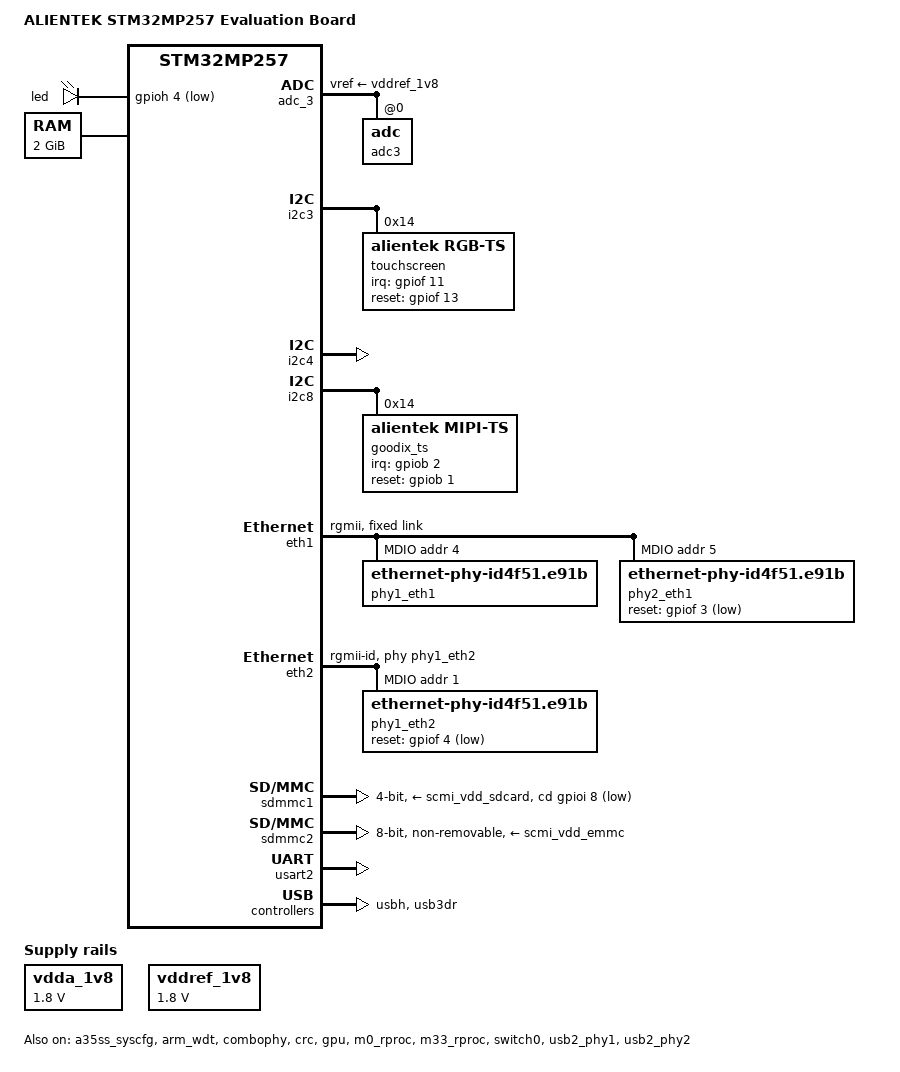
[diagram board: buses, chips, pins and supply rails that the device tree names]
/dts-v1/;

#include <dt-bindings/gpio/gpio.h>
#include <dt-bindings/input/input.h>
#include <dt-bindings/leds/common.h>
#include <dt-bindings/regulator/st,stm32mp25-regulator.h>
#include "stm32mp257.dtsi"
#include "stm32mp25-pinctrl-atk-ddr-2GB.dtsi"
#include "stm32mp25xxak-pinctrl.dtsi"
#include "stm32mp257d-atk-ddr-2GB-ca35tdcid-resmem.dtsi"

/ {
	model = "ALIENTEK STM32MP257 Evaluation Board";
	compatible = "st,stm32mp257d-atk", "st,stm32mp257";

	aliases {
		ethernet0 = &eth2;
		ethernet1 = &eth1;
		serial0 = &usart2;
	};

	chosen {
		stdout-path = "serial0:115200n8";
		#address-cells = <2>;
		#size-cells = <2>;
		ranges;

		framebuffer {
			compatible = "simple-framebuffer";
			clocks = <&rcc CK_BUS_LTDC>, <&rcc CK_KER_LTDC>,
				 <&rcc CK_BUS_LVDS>, <&rcc CK_KER_LVDSPHY>;
			status = "disabled";
		};
	};

	clocks {
		pad_clk: pad-clk {
			#clock-cells = <0>;
			compatible = "fixed-clock";
			clock-frequency = <100000000>;
		};
	};

	config_adc_mipi_dsi_lcd_id {
		st,adc_mipi_dsi_lcd_id = <&adc3 2>;
	};

	rgb_lcd_id_pinctrl {
		gpior = <&gpiog 7 	GPIO_ACTIVE_LOW>;	//LCD_R7
		gpiog = <&gpiog 13 	GPIO_ACTIVE_LOW>;	//LCD_G7
		gpiob = <&gpioi 4 	GPIO_ACTIVE_LOW>;	//LCD_B7
	};

	gpio-leds {
		compatible = "gpio-leds";

		led {
			gpios = <&gpioh 4 GPIO_ACTIVE_LOW>;
			default-state = "on";
		};
	};

	memory@80000000 {
		device_type = "memory";
		reg = <0x0 0x80000000 0x0 0x80000000>;
	};
	
	vdda_1v8: regulator-vdda-1v8 {
			compatible = "regulator-fixed";
			regulator-name = "vdda_1v8";
			regulator-min-microvolt = <1800000>;
			regulator-max-microvolt = <1800000>;
			regulator-always-on;
			regulator-boot-on;
	};

	vddref_1v8: regulator-vddref-1v8 {
			compatible = "regulator-fixed";
			regulator-name = "vddref_1v8";
			regulator-min-microvolt = <1800000>;
			regulator-max-microvolt = <1800000>;
			regulator-always-on;
			regulator-boot-on;
	};	
};

&adc_3 {
	pinctrl-names = "default";
	pinctrl-0 = <&adc3_in2_pins_a>;
	vdda-supply = <&vdda_1v8>;
	vref-supply = <&vddref_1v8>;
	status = "okay";

	adc3: adc@0 {
		#address-cells = <1>;
		#size-cells = <0>;
		status = "okay";

		channel@2 {
			reg = <2>;               			/* ADC3 in2 channel is used */
			st,min-sample-time-ns = <10000>;  	/* 10µs sampling time */
		};
	};
};

&i2c3 {
	pinctrl-names = "default", "sleep";
	pinctrl-0 = <&i2c3_pins_a>;
	pinctrl-1 = <&i2c3_sleep_pins_a>;
	status = "okay";
	/* spare dmas for other usage */
	/delete-property/dmas;
	/delete-property/dma-names;	

    touchscreen@14 {
		compatible = "alientek,rgb-ts";
		reg = <0x14>;	//GOODIX Address
		ft5426,cst340,reg = <0x38>;	//FT5426,CST340 Address
		interrupt-parent = <&gpiof>;
		interrupts = <11 IRQ_TYPE_EDGE_RISING>;
		irq-gpios = <&gpiof 11 GPIO_ACTIVE_HIGH>;
		reset-gpios = <&gpiof 13 GPIO_ACTIVE_HIGH>;
		status = "okay";
	};
};

&i2c4 {
	pinctrl-names = "default", "sleep";
	pinctrl-0 = <&i2c4_pins_a>;
	pinctrl-1 = <&i2c4_sleep_pins_a>;
	status = "okay";
	/* spare dmas for other usage */
	/delete-property/dmas;
	/delete-property/dma-names;	
};

&i2c8 {
	pinctrl-names = "default", "sleep";
	pinctrl-0 = <&i2c8_pins_a>;
	pinctrl-1 = <&i2c8_sleep_pins_a>;
	status = "okay";
	/* spare dmas for other usage */
	/delete-property/dmas;
	/delete-property/dma-names;	

    goodix_ts@14 {
		compatible = "alientek,mipi-ts";
		reg = <0x14>;
		interrupt-parent = <&gpiob>;
		interrupts = <2 IRQ_TYPE_EDGE_RISING>;
		irq-gpios = <&gpiob 2 GPIO_ACTIVE_HIGH>;
		reset-gpios = <&gpiob 1 GPIO_ACTIVE_HIGH>;
		status = "okay";
	};
};

&a35ss_syscfg {
	status = "okay";
};

&ahbsr {
	mbox_client: mailbox-client@1 {
		compatible = "mbox-cdev";
		reg = <1 0>;
		memory-region =  <&ipc_shmem_2>;
		mboxes = <&ipcc2 0>;
		mbox-names = "rx-tx";
		status = "okay";
	};
};

&arm_wdt {
	timeout-sec = <32>;
	status = "okay";
};

&combophy {
	clocks = <&rcc CK_BUS_USB3PCIEPHY>, <&rcc CK_KER_USB3PCIEPHY>, <&pad_clk>;
	clock-names = "apb-clk", "ker-clk", "pad-clk";
	st,rx_equalizer = <1>;
	status = "okay";
};

&crc {
	status = "okay";
};

&eth1 {
	status = "okay";
	pinctrl-0 = <&eth1_mdio_pins_a>;
	pinctrl-names = "default";
	phy-mode = "rgmii";
	st,eth-clk-sel;
	snps,ext-systime;
	fixed_link: fixed-link {
		speed = <1000>;
		full-duplex;
	};

	mdio1 {
		#address-cells = <1>;
		#size-cells = <0>;
		compatible = "snps,dwmac-mdio";
		phy1_eth1: ethernet-phy@4 {
			compatible = "ethernet-phy-id4f51.e91b",
			  	     "ethernet-phy-ieee802.3-c22";
			reg = <4>;
		};
 		phy2_eth1: ethernet-phy@5 {
 			compatible = "ethernet-phy-id4f51.e91b",
 			 	     "ethernet-phy-ieee802.3-c22";
 			reset-gpios =  <&gpiof 3 GPIO_ACTIVE_LOW>;
 			reset-assert-us = <10000>;
 			reset-deassert-us = <80000>;
 			reg = <5>;
 		};
	};
};

&eth2 {
	status = "okay";
	pinctrl-0 = <&eth2_rgmii_pins_a>;
	pinctrl-1 = <&eth2_rgmii_sleep_pins_a>;
	pinctrl-names = "default", "sleep";
	phy-mode = "rgmii-id";
	max-speed = <1000>;
	phy-handle = <&phy1_eth2>;
	st,eth-ptp-from-rcc;

	mdio1 {
		#address-cells = <1>;
		#size-cells = <0>;
		compatible = "snps,dwmac-mdio";
		phy1_eth2: ethernet-phy@1 {
			compatible = "ethernet-phy-id4f51.e91b";
			reset-gpios =  <&gpiof 4 GPIO_ACTIVE_LOW>;
			reset-assert-us = <10000>;
			reset-deassert-us = <80000>;
			reg = <1>;
		};
	};
};

&gpu {
	contiguous-area = <&gpu_reserved>;
	status = "okay";
};

&hpdma {
	memory-region = <&hpdma1_lli>;
};

&hpdma2 {
	memory-region = <&hpdma2_lli>;
};

&hpdma3 {
	memory-region = <&hpdma3_lli>;
};

&ipcc1 {
	status = "okay";
};

&ipcc2 {
	status = "okay";
};

&m0_rproc {
	mboxes = <&ipcc2 0>, <&ipcc2 1>, <&ipcc2 2>;
	mbox-names = "rx", "tx", "shutdown";
	memory-region = <&cm0_cube_fw>, <&cm0_cube_data>;
	clocks = <&rcc CK_CPU3>,
		 <&rcc CK_CPU3_AM>,
		 <&rcc CK_LPUART1_C3>,
		 <&rcc CK_KER_LPUART1>,
		 <&rcc CK_LPUART1_AM>,
		 <&scmi_clk CK_SCMI_IPCC2>,
		 <&scmi_clk CK_SCMI_IPCC2_AM>;
	status = "okay";
};

&m33_rproc {
	mboxes = <&ipcc1 0x100>, <&ipcc1 0x101>, <&ipcc1 2>;
	mbox-names = "vq0", "vq1", "shutdown";
	memory-region = <&cm33_cube_fw>, <&cm33_cube_data>,
			<&ipc_shmem_1>, <&vdev0vring0>,
			<&vdev0vring1>, <&vdev0buffer>,
			<&cm33_sram2>;
	st,syscfg-nsvtor = <&a35ss_syscfg 0xa8 0xffffff80>;
	status = "okay";
};

&scmi_regu {
	scmi_vddio1: regulator@0 {
		regulator-min-microvolt = <1800000>;
		regulator-max-microvolt = <3300000>;
	};
	scmi_vddcore: regulator@11  {
		reg = <VOLTD_SCMI_STPMIC2_BUCK2>;
		regulator-name = "vddcore";
	};
	scmi_v1v8: regulator@14  {
		reg = <VOLTD_SCMI_STPMIC2_BUCK5>;
		regulator-name = "v1v8";
	};
	scmi_v3v3: regulator@16 {
		reg = <VOLTD_SCMI_STPMIC2_BUCK7>;
		regulator-name = "v3v3";
	};
	scmi_vdd_emmc: regulator@18 {
		reg = <VOLTD_SCMI_STPMIC2_LDO2>;
		regulator-name = "vdd_emmc";
	};
	scmi_vdd3v3_usb: regulator@20 {
		reg = <VOLTD_SCMI_STPMIC2_LDO4>;
		regulator-name = "vdd3v3_usb";
	};
	scmi_vdd_sdcard: regulator@23 {
		reg = <VOLTD_SCMI_STPMIC2_LDO7>;
		regulator-name = "vdd_sdcard";
	};
};

&sdmmc1 {
	pinctrl-names = "default", "opendrain", "sleep";
	pinctrl-0 = <&sdmmc1_b4_pins_a>;
	pinctrl-1 = <&sdmmc1_b4_od_pins_a>;
	pinctrl-2 = <&sdmmc1_b4_sleep_pins_a>;
	cd-gpios = <&gpioi 8 (GPIO_ACTIVE_LOW | GPIO_PULL_UP)>;
	disable-wp;
	st,neg-edge;
	bus-width = <4>;
	vmmc-supply = <&scmi_vdd_sdcard>;
	vqmmc-supply = <&scmi_vddio1>;
	sd-uhs-sdr12;
	sd-uhs-sdr25;
	sd-uhs-sdr50;
	sd-uhs-ddr50;
	sd-uhs-sdr104;	
	status = "okay";
};

&sdmmc2 {
	pinctrl-names = "default", "opendrain", "sleep";
	pinctrl-0 = <&sdmmc2_b4_pins_a &sdmmc2_d47_pins_a>;
	pinctrl-1 = <&sdmmc2_b4_od_pins_a &sdmmc2_d47_pins_a>;
	pinctrl-2 = <&sdmmc2_b4_sleep_pins_a &sdmmc2_d47_sleep_pins_a>;
	non-removable;
	no-sd;
	no-sdio;
	st,neg-edge;
	bus-width = <8>;
	vmmc-supply = <&scmi_vdd_emmc>;
	vqmmc-supply = <&scmi_vddio2>;
	mmc-ddr-1_8v;
	status = "okay";
};

&switch0 {
	status = "okay";
	pinctrl-0 = <&eth1_rgmii_pins_a>, <&eth3_rgmii_pins_a>;
	pinctrl-1 = <&eth1_rgmii_sleep_pins_a>, <&eth3_rgmii_sleep_pins_a>;
	pinctrl-names = "default", "sleep";
	phy-mode = "rgmii";
	st,ethsw-internal-125;
};

&usart2 {
	pinctrl-names = "default", "idle", "sleep";
	pinctrl-0 = <&usart2_pins_a>;
	pinctrl-1 = <&usart2_idle_pins_a>;
	pinctrl-2 = <&usart2_sleep_pins_a>;
	/delete-property/dmas;
	/delete-property/dma-names;
	status = "okay";
};

&usb2_phy1 {
	vdd33-supply = <&scmi_vdd3v3_usb>;
	status = "okay";
};

&usb2_phy2 {
	vdd33-supply = <&scmi_vdd3v3_usb>;
	status = "okay";
};

&usbh {
	status = "okay";

	usbh_ehci: usb@482f0000 {
		#address-cells = <1>;
		#size-cells = <0>;
	};

	usbh_ohci: usb@482e0000 {
		status = "disabled";
	};
};

&usb3dr {
	status = "okay";

	dwc3: usb@48300000 {
		maximum-speed = "high-speed";
	};
};
